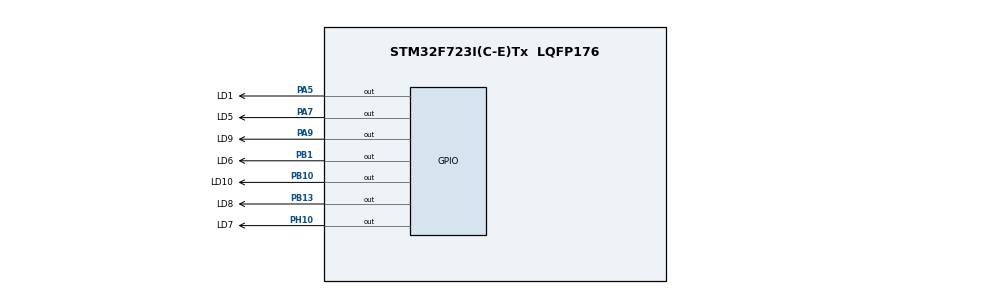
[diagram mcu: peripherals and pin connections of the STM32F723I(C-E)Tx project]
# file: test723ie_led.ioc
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Mcu.Family=STM32F7
Mcu.Name=STM32F723I(C-E)Tx
Mcu.Package=LQFP176
NVIC.PriorityGroup=NVIC_PRIORITYGROUP_4
PA13.Mode=Serial_Wire
PA13.Signal=SYS_JTMS-SWDIO
PA14.Mode=Serial_Wire
PA14.Signal=SYS_JTCK-SWCLK
PA5.GPIO_Label=LD1
PA5.GPIO_ModeDefaultOutputPP=GPIO_MODE_OUTPUT_PP
PA5.GPIO_PuPd=GPIO_NOPULL
PA5.Signal=GPIO_Output
PA7.GPIO_Label=LD5
PA7.GPIO_ModeDefaultOutputPP=GPIO_MODE_OUTPUT_PP
PA7.GPIO_PuPd=GPIO_NOPULL
PA7.Signal=GPIO_Output
PA9.GPIO_Label=LD9
PA9.GPIO_ModeDefaultOutputPP=GPIO_MODE_OUTPUT_PP
PA9.GPIO_PuPd=GPIO_NOPULL
PA9.Signal=GPIO_Output
PB1.GPIO_Label=LD6
PB1.GPIO_ModeDefaultOutputPP=GPIO_MODE_OUTPUT_PP
PB1.GPIO_PuPd=GPIO_NOPULL
PB1.Signal=GPIO_Output
PB10.GPIO_Label=LD10
PB10.GPIO_ModeDefaultOutputPP=GPIO_MODE_OUTPUT_PP
PB10.GPIO_PuPd=GPIO_NOPULL
PB10.Signal=GPIO_Output
PB13.GPIO_Label=LD8
PB13.GPIO_ModeDefaultOutputPP=GPIO_MODE_OUTPUT_PP
PB13.GPIO_PuPd=GPIO_NOPULL
PB13.Signal=GPIO_Output
PH10.GPIO_Label=LD7
PH10.GPIO_ModeDefaultOutputPP=GPIO_MODE_OUTPUT_PP
PH10.GPIO_PuPd=GPIO_NOPULL
PH10.Signal=GPIO_Output
ProjectManager.HeapSize=0x200
ProjectManager.StackSize=0x400
ProjectManager.TargetToolchain=SW4STM32
RCC.HSE_VALUE=25000000
RCC.HSI_VALUE=16000000
RCC.LSE_VALUE=32768
RCC.USBFreq_Value=96000000
RCC.VCOOutputFreq_Value=192000000
VP_RTC_VS_RTC_Activate.Mode=RTC_Enabled
VP_RTC_VS_RTC_Calendar.Mode=RTC_Calendar
board=custom

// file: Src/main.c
/**
  ******************************************************************************
  * @file           : main.c
  * @brief          : Main program body
  ******************************************************************************
  ** This notice applies to any and all portions of this file
  * that are not between comment pairs USER CODE BEGIN and
  * USER CODE END. Other portions of this file, whether
  * inserted by the user or by software development tools
  * are owned by their respective copyright owners.
  *
  * COPYRIGHT(c) 2018 STMicroelectronics
  *
  * Redistribution and use in source and binary forms, with or without modification,
  * are permitted provided that the following conditions are met:
  *   1. Redistributions of source code must retain the above copyright notice,
  *      this list of conditions and the following disclaimer.
  *   2. Redistributions in binary form must reproduce the above copyright notice,
  *      this list of conditions and the following disclaimer in the documentation
  *      and/or other materials provided with the distribution.
  *   3. Neither the name of STMicroelectronics nor the names of its contributors
  *      may be used to endorse or promote products derived from this software
  *      without specific prior written permission.
  *
  * THIS SOFTWARE IS PROVIDED BY THE COPYRIGHT HOLDERS AND CONTRIBUTORS "AS IS"
  * AND ANY EXPRESS OR IMPLIED WARRANTIES, INCLUDING, BUT NOT LIMITED TO, THE
  * IMPLIED WARRANTIES OF MERCHANTABILITY AND FITNESS FOR A PARTICULAR PURPOSE ARE
  * DISCLAIMED. IN NO EVENT SHALL THE COPYRIGHT HOLDER OR CONTRIBUTORS BE LIABLE
  * FOR ANY DIRECT, INDIRECT, INCIDENTAL, SPECIAL, EXEMPLARY, OR CONSEQUENTIAL
  * DAMAGES (INCLUDING, BUT NOT LIMITED TO, PROCUREMENT OF SUBSTITUTE GOODS OR
  * SERVICES; LOSS OF USE, DATA, OR PROFITS; OR BUSINESS INTERRUPTION) HOWEVER
  * CAUSED AND ON ANY THEORY OF LIABILITY, WHETHER IN CONTRACT, STRICT LIABILITY,
  * OR TORT (INCLUDING NEGLIGENCE OR OTHERWISE) ARISING IN ANY WAY OUT OF THE USE
  * OF THIS SOFTWARE, EVEN IF ADVISED OF THE POSSIBILITY OF SUCH DAMAGE.
  *
  ******************************************************************************
  */
#include "main.h"
#include "stm32f7xx_hal.h"

RTC_HandleTypeDef hrtc;

/* USER CODE BEGIN PV */
/* Private variables ---------------------------------------------------------*/

/* USER CODE END PV */

void SystemClock_Config(void);
static void MX_GPIO_Init(void);
static void MX_RTC_Init(void);

/* USER CODE BEGIN PFP */
/* Private function prototypes -----------------------------------------------*/

/* USER CODE END PFP */

int main(void)
{

  /* MCU Configuration----------------------------------------------------------*/

  /* Reset of all peripherals, Initializes the Flash interface and the Systick. */
  HAL_Init();

  /* Configure the system clock */
  SystemClock_Config();

  /* Initialize all configured peripherals */
  MX_GPIO_Init();
  MX_RTC_Init();

  /* Infinite loop */
  /* USER CODE BEGIN WHILE */
  typedef struct led_info_s{
    uint16_t pin;
    uint16_t inv;
    GPIO_TypeDef * port;
  }led_info_t;
  led_info_t leds[] = {
  {LD5_Pin,  0, LD5_GPIO_Port },
  {LD6_Pin,  0, LD6_GPIO_Port },
  {LD1_Pin,  0, LD1_GPIO_Port },
  {LD7_Pin,  1, LD7_GPIO_Port },
  {LD8_Pin,  0, LD8_GPIO_Port },
  {LD9_Pin,  0, LD9_GPIO_Port },
  {LD10_Pin, 1, LD10_GPIO_Port}};
  const int LED_COUNT = sizeof(leds)/sizeof(leds[0]);
  int i;
  for (i = 0; i < LED_COUNT; i++)
    if(leds[i].inv)
      HAL_GPIO_WritePin(leds[i].port, leds[i].pin, GPIO_PIN_RESET);
    else
      HAL_GPIO_WritePin(leds[i].port, leds[i].pin, GPIO_PIN_SET);
  i = 0;
  while (1)
  {

  /* USER CODE END WHILE */

  /* USER CODE BEGIN 3 */
    HAL_GPIO_TogglePin(leds[i].port, leds[i].pin);
    i = (i + 1) % LED_COUNT;
    HAL_Delay(100);
  }
  /* USER CODE END 3 */

}

void SystemClock_Config(void)
{

  RCC_OscInitTypeDef RCC_OscInitStruct;
  RCC_ClkInitTypeDef RCC_ClkInitStruct;
  RCC_PeriphCLKInitTypeDef PeriphClkInitStruct;

    /**Configure the main internal regulator output voltage
    */
  __HAL_RCC_PWR_CLK_ENABLE();

  __HAL_PWR_VOLTAGESCALING_CONFIG(PWR_REGULATOR_VOLTAGE_SCALE3);

    /**Initializes the CPU, AHB and APB busses clocks
    */
  RCC_OscInitStruct.OscillatorType = RCC_OSCILLATORTYPE_HSI|RCC_OSCILLATORTYPE_LSI;
  RCC_OscInitStruct.HSIState = RCC_HSI_ON;
  RCC_OscInitStruct.HSICalibrationValue = 16;
  RCC_OscInitStruct.LSIState = RCC_LSI_ON;
  RCC_OscInitStruct.PLL.PLLState = RCC_PLL_NONE;
  if (HAL_RCC_OscConfig(&RCC_OscInitStruct) != HAL_OK)
  {
    _Error_Handler(__FILE__, __LINE__);
  }

    /**Initializes the CPU, AHB and APB busses clocks
    */
  RCC_ClkInitStruct.ClockType = RCC_CLOCKTYPE_HCLK|RCC_CLOCKTYPE_SYSCLK
                              |RCC_CLOCKTYPE_PCLK1|RCC_CLOCKTYPE_PCLK2;
  RCC_ClkInitStruct.SYSCLKSource = RCC_SYSCLKSOURCE_HSI;
  RCC_ClkInitStruct.AHBCLKDivider = RCC_SYSCLK_DIV1;
  RCC_ClkInitStruct.APB1CLKDivider = RCC_HCLK_DIV1;
  RCC_ClkInitStruct.APB2CLKDivider = RCC_HCLK_DIV1;

  if (HAL_RCC_ClockConfig(&RCC_ClkInitStruct, FLASH_LATENCY_0) != HAL_OK)
  {
    _Error_Handler(__FILE__, __LINE__);
  }

  PeriphClkInitStruct.PeriphClockSelection = RCC_PERIPHCLK_RTC;
  PeriphClkInitStruct.RTCClockSelection = RCC_RTCCLKSOURCE_LSI;
  if (HAL_RCCEx_PeriphCLKConfig(&PeriphClkInitStruct) != HAL_OK)
  {
    _Error_Handler(__FILE__, __LINE__);
  }

    /**Configure the Systick interrupt time
    */
  HAL_SYSTICK_Config(HAL_RCC_GetHCLKFreq()/1000);

    /**Configure the Systick
    */
  HAL_SYSTICK_CLKSourceConfig(SYSTICK_CLKSOURCE_HCLK);

  /* SysTick_IRQn interrupt configuration */
  HAL_NVIC_SetPriority(SysTick_IRQn, 0, 0);
}

/* RTC init function */
static void MX_RTC_Init(void)
{

  RTC_TimeTypeDef sTime;
  RTC_DateTypeDef sDate;

    /**Initialize RTC Only
    */
  hrtc.Instance = RTC;
  hrtc.Init.HourFormat = RTC_HOURFORMAT_24;
  hrtc.Init.AsynchPrediv = 127;
  hrtc.Init.SynchPrediv = 255;
  hrtc.Init.OutPut = RTC_OUTPUT_DISABLE;
  hrtc.Init.OutPutPolarity = RTC_OUTPUT_POLARITY_HIGH;
  hrtc.Init.OutPutType = RTC_OUTPUT_TYPE_OPENDRAIN;
  if (HAL_RTC_Init(&hrtc) != HAL_OK)
  {
    _Error_Handler(__FILE__, __LINE__);
  }

    /**Initialize RTC and set the Time and Date
    */
  sTime.Hours = 0x0;
  sTime.Minutes = 0x0;
  sTime.Seconds = 0x0;
  sTime.DayLightSaving = RTC_DAYLIGHTSAVING_NONE;
  sTime.StoreOperation = RTC_STOREOPERATION_RESET;
  if (HAL_RTC_SetTime(&hrtc, &sTime, RTC_FORMAT_BCD) != HAL_OK)
  {
    _Error_Handler(__FILE__, __LINE__);
  }

  sDate.WeekDay = RTC_WEEKDAY_MONDAY;
  sDate.Month = RTC_MONTH_JANUARY;
  sDate.Date = 0x1;
  sDate.Year = 0x0;

  if (HAL_RTC_SetDate(&hrtc, &sDate, RTC_FORMAT_BCD) != HAL_OK)
  {
    _Error_Handler(__FILE__, __LINE__);
  }

}

/** Configure pins as
        * Analog
        * Input
        * Output
        * EVENT_OUT
        * EXTI
*/
static void MX_GPIO_Init(void)
{

  GPIO_InitTypeDef GPIO_InitStruct;

  /* GPIO Ports Clock Enable */
  __HAL_RCC_GPIOA_CLK_ENABLE();
  __HAL_RCC_GPIOB_CLK_ENABLE();
  __HAL_RCC_GPIOH_CLK_ENABLE();

  /*Configure GPIO pin Output Level */
  HAL_GPIO_WritePin(GPIOA, LD1_Pin|LD5_Pin|LD9_Pin, GPIO_PIN_RESET);

  /*Configure GPIO pin Output Level */
  HAL_GPIO_WritePin(GPIOB, LD6_Pin|LD10_Pin|LD8_Pin, GPIO_PIN_RESET);

  /*Configure GPIO pin Output Level */
  HAL_GPIO_WritePin(LD7_GPIO_Port, LD7_Pin, GPIO_PIN_RESET);

  /*Configure GPIO pins : LD1_Pin LD5_Pin LD9_Pin */
  GPIO_InitStruct.Pin = LD1_Pin|LD5_Pin|LD9_Pin;
  GPIO_InitStruct.Mode = GPIO_MODE_OUTPUT_PP;
  GPIO_InitStruct.Pull = GPIO_NOPULL;
  GPIO_InitStruct.Speed = GPIO_SPEED_FREQ_LOW;
  HAL_GPIO_Init(GPIOA, &GPIO_InitStruct);

  /*Configure GPIO pins : LD6_Pin LD10_Pin LD8_Pin */
  GPIO_InitStruct.Pin = LD6_Pin|LD10_Pin|LD8_Pin;
  GPIO_InitStruct.Mode = GPIO_MODE_OUTPUT_PP;
  GPIO_InitStruct.Pull = GPIO_NOPULL;
  GPIO_InitStruct.Speed = GPIO_SPEED_FREQ_LOW;
  HAL_GPIO_Init(GPIOB, &GPIO_InitStruct);

  /*Configure GPIO pin : LD7_Pin */
  GPIO_InitStruct.Pin = LD7_Pin;
  GPIO_InitStruct.Mode = GPIO_MODE_OUTPUT_PP;
  GPIO_InitStruct.Pull = GPIO_NOPULL;
  GPIO_InitStruct.Speed = GPIO_SPEED_FREQ_LOW;
  HAL_GPIO_Init(LD7_GPIO_Port, &GPIO_InitStruct);

}

void _Error_Handler(char *file, int line)
{
  while(1)
  {
  }
}

/************************ (C) COPYRIGHT STMicroelectronics *****END OF FILE****/
